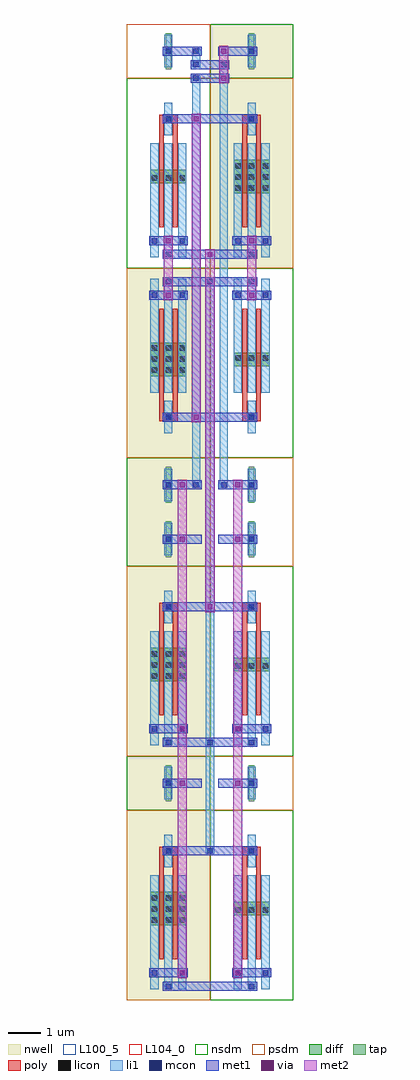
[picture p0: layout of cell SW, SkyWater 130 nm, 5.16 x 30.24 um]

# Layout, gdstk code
import gdstk
lib = gdstk.Library(unit=1e-6, precision=1e-09)
def R(c, l, rs):  # rectangles x0, y0, x1, y1
    for r in rs: c.add(gdstk.rectangle(r[:2], r[2:], *l))
def A(c, l, x, y, w, h, nx, ny, dx, dy):  # array of equal rectangles
    R(c, l, [(x+i*dx, y+j*dy, x+i*dx+w, y+j*dy+h) for i in range(nx) for j in range(ny)])
nwell = (64, 20)
diff = (65, 20)
tap = (65, 44)
poly = (66, 20)
licon = (66, 44)
li1 = (67, 20)
mcon = (67, 44)
met1 = (68, 20)
via = (68, 44)
met2 = (69, 20)
nsdm = (93, 44)
psdm = (94, 20)
L100_5 = (100, 5)
L104_0 = (104, 0)

c_sw = lib.new_cell('SW')
A(c_sw, nwell, 0, 0, 2.58, 7.56, 1, 3, 0, 7.56)
R(c_sw, nwell, [(2.58,22.68,5.16,30.24)])
R(c_sw, diff, [(0.735,2.31,1.845,3.36), (3.315,2.625,4.425,3.045), (0.735,9.87,1.845,10.92), (3.315,10.185,4.425,10.605), (0.735,19.32,1.845,20.37), (3.315,19.635,4.425,20.055), (3.315,24.99,4.425,26.04), (0.735,25.305,1.845,25.725)])
R(c_sw, tap, [(1.205,6.16,1.375,7.28), (3.785,6.16,3.955,7.28), (1.205,13.72,1.375,14.84), (3.785,13.72,3.955,14.84), (1.205,15.4,1.375,16.52), (3.785,15.4,3.955,16.52), (1.205,28.84,1.375,29.96), (3.785,28.84,3.955,29.96)])
R(c_sw, poly, [(1,1.26,1.15,4.62), (1.43,1.26,1.58,4.62), (3.58,1.26,3.73,4.62), (4.01,1.26,4.16,4.62), (1,4.485,1.58,4.755), (3.58,4.485,4.16,4.755), (1,8.82,1.15,12.18), (1.43,8.82,1.58,12.18), (3.58,8.82,3.73,12.18), (4.01,8.82,4.16,12.18), (1,12.045,1.58,12.315), (3.58,12.045,4.16,12.315), (1,17.925,1.58,18.195), (3.58,17.925,4.16,18.195), (1,18.06,1.15,21.42), (1.43,18.06,1.58,21.42), (3.58,18.06,3.73,21.42), (4.01,18.06,4.16,21.42), (1,23.94,1.15,27.3), (1.43,23.94,1.58,27.3), (3.58,23.94,3.73,27.3), (4.01,23.94,4.16,27.3), (1,27.165,1.58,27.435), (3.58,27.165,4.16,27.435)])
A(c_sw, licon, 0.775, 2.39, 0.17, 0.17, 3, 3, 0.43, 0.34)
A(c_sw, licon, 3.355, 2.705, 0.17, 0.17, 3, 2, 0.43, 7.56)
A(c_sw, licon, 0.775, 9.95, 0.17, 0.17, 3, 3, 0.43, 0.34)
A(c_sw, licon, 0.775, 19.44, 0.17, 0.17, 3, 3, 0.43, 0.34)
A(c_sw, licon, 3.355, 19.805, 0.17, 0.17, 3, 2, 0.43, 5.265)
A(c_sw, licon, 0.775, 25.385, 0.17, 0.17, 3, 1, 0.43, 0)
A(c_sw, licon, 3.355, 25.41, 0.17, 0.17, 3, 2, 0.43, 0.34)
R(c_sw, licon, [(1.205,4.535,1.375,4.705), (3.785,4.535,3.955,4.705), (1.205,6.635,1.375,6.805), (3.785,6.635,3.955,6.805), (1.205,12.095,1.375,12.265), (3.785,12.095,3.955,12.265), (1.205,14.195,1.375,14.365), (3.785,14.195,3.955,14.365), (1.205,15.875,1.375,16.045), (3.785,15.875,3.955,16.045), (1.205,17.975,1.375,18.145), (3.785,17.975,3.955,18.145), (1.205,27.215,1.375,27.385), (3.785,27.215,3.955,27.385), (1.205,29.315,1.375,29.485), (3.785,29.315,3.955,29.485)])
A(c_sw, li1, 0.735, 0.335, 0.25, 3.53, 3, 2, 0.43, 7.56)
A(c_sw, li1, 3.315, 0.335, 0.25, 3.53, 3, 2, 0.43, 7.56)
A(c_sw, li1, 0.735, 18.815, 0.25, 3.53, 3, 2, 0.43, 4.2)
A(c_sw, li1, 3.315, 18.815, 0.25, 3.53, 3, 2, 0.43, 4.2)
R(c_sw, li1, [(1.165,4.115,1.415,5.125), (3.745,4.115,3.995,5.125), (2.455,4.535,2.705,22.345), (1.165,6.215,1.415,7.225), (3.745,6.215,3.995,7.225), (1.165,11.675,1.415,12.685), (3.745,11.675,3.995,12.685), (1.165,13.775,1.415,14.785), (3.745,13.775,3.995,14.785), (1.165,15.455,1.415,16.465), (3.745,15.455,3.995,16.465), (2.025,15.875,2.275,28.645), (2.885,15.875,3.135,29.065), (1.165,17.555,1.415,18.565), (3.745,17.555,3.995,18.565), (1.165,26.795,1.415,27.805), (3.745,26.795,3.995,27.805), (1.165,28.895,1.415,29.905), (2.025,28.895,2.275,29.485), (3.745,28.895,3.995,29.905)])
A(c_sw, mcon, 1.205, 4.535, 0.17, 0.17, 3, 2, 1.29, 3.36)
A(c_sw, mcon, 1.205, 15.875, 0.17, 0.17, 4, 1, 0.86, 0)
A(c_sw, mcon, 1.205, 22.175, 0.17, 0.17, 3, 1, 1.29, 0)
A(c_sw, mcon, 2.065, 28.475, 0.17, 0.17, 1, 3, 0, 0.42)
R(c_sw, mcon, [(1.205,0.335,1.375,0.505), (3.785,0.335,3.955,0.505), (0.775,0.755,0.945,0.925), (1.635,0.755,1.805,0.925), (3.355,0.755,3.525,0.925), (4.215,0.755,4.385,0.925), (1.205,6.635,1.375,6.805), (3.785,6.635,3.955,6.805), (0.775,8.315,0.945,8.485), (1.635,8.315,1.805,8.485), (3.355,8.315,3.525,8.485), (4.215,8.315,4.385,8.485), (1.205,12.095,1.375,12.265), (3.785,12.095,3.955,12.265), (1.205,14.195,1.375,14.365), (3.785,14.195,3.955,14.365), (1.205,17.975,1.375,18.145), (3.785,17.975,3.955,18.145), (0.775,21.755,0.945,21.925), (1.635,21.755,1.805,21.925), (3.355,21.755,3.525,21.925), (4.215,21.755,4.385,21.925), (1.205,23.015,1.375,23.185), (3.785,23.015,3.955,23.185), (0.775,23.435,0.945,23.605), (1.635,23.435,1.805,23.605), (3.355,23.435,3.525,23.605), (4.215,23.435,4.385,23.605), (1.205,27.215,1.375,27.385), (3.785,27.215,3.955,27.385), (2.925,28.895,3.095,29.065), (1.205,29.315,1.375,29.485), (3.785,29.315,3.955,29.485)])
R(c_sw, met1, [(1.12,0.28,4.04,0.56), (0.69,0.7,1.89,0.98), (3.27,0.7,4.47,0.98), (1.12,4.48,4.04,4.76), (1.12,6.58,2.32,6.86), (2.84,6.58,4.04,6.86), (1.12,7.84,4.04,8.12), (0.69,8.26,1.89,8.54), (3.27,8.26,4.47,8.54), (1.12,12.04,4.04,12.32), (1.12,14.14,2.32,14.42), (2.84,14.14,4.04,14.42), (1.12,15.82,2.32,16.1), (2.84,15.82,4.04,16.1), (1.12,17.92,4.04,18.2), (0.69,21.7,1.89,21.98), (3.27,21.7,4.47,21.98), (1.12,22.12,4.04,22.4), (1.12,22.96,4.04,23.24), (0.69,23.38,1.89,23.66), (3.27,23.38,4.47,23.66), (1.12,27.16,4.04,27.44), (1.98,28.42,3.17,28.7), (1.98,28.84,3.18,29.12), (1.12,29.26,2.32,29.54), (2.84,29.26,4.04,29.54)])
R(c_sw, via, [(1.645,0.765,1.795,0.915), (3.365,0.765,3.515,0.915), (1.645,6.645,1.795,6.795), (3.365,6.645,3.515,6.795), (1.645,8.325,1.795,8.475), (3.365,8.325,3.515,8.475), (2.505,12.105,2.655,12.255), (1.645,14.205,1.795,14.355), (3.365,14.205,3.515,14.355), (1.645,15.885,1.795,16.035), (3.365,15.885,3.515,16.035), (2.075,17.985,2.225,18.135), (1.215,21.765,1.365,21.915), (3.795,21.765,3.945,21.915), (2.505,23.025,2.655,23.175), (1.215,23.445,1.365,23.595), (3.795,23.445,3.945,23.595), (2.075,27.225,2.225,27.375), (2.935,28.485,3.085,28.635), (2.935,29.325,3.085,29.475)])
R(c_sw, met2, [(1.58,0.68,1.86,16.12), (3.3,0.68,3.58,16.12), (2.44,12.02,2.72,23.26), (2.01,17.9,2.29,27.46), (1.15,21.68,1.43,23.68), (3.73,21.68,4.01,23.68), (2.87,28.4,3.15,29.56)])
R(c_sw, nsdm, [(2.58,0,5.16,5.88), (0,5.88,2.58,7.56), (2.58,7.56,5.16,13.44), (0,13.44,2.58,15.12), (0,15.12,2.58,16.8), (2.58,16.8,5.16,22.68), (0,22.68,2.58,28.56), (2.58,28.56,5.16,30.24)])
R(c_sw, psdm, [(0,0,2.58,5.88), (2.58,5.88,5.16,7.56), (0,7.56,2.58,13.44), (2.58,13.44,5.16,15.12), (2.58,15.12,5.16,16.8), (0,16.8,2.58,22.68), (2.58,22.68,5.16,28.56), (0,28.56,2.58,30.24)])
R(c_sw, L100_5, [(0,0,5.16,30.24)])
R(c_sw, L104_0, [(0,0,5.16,30.24)])

lib.write_gds('SW.gds')
